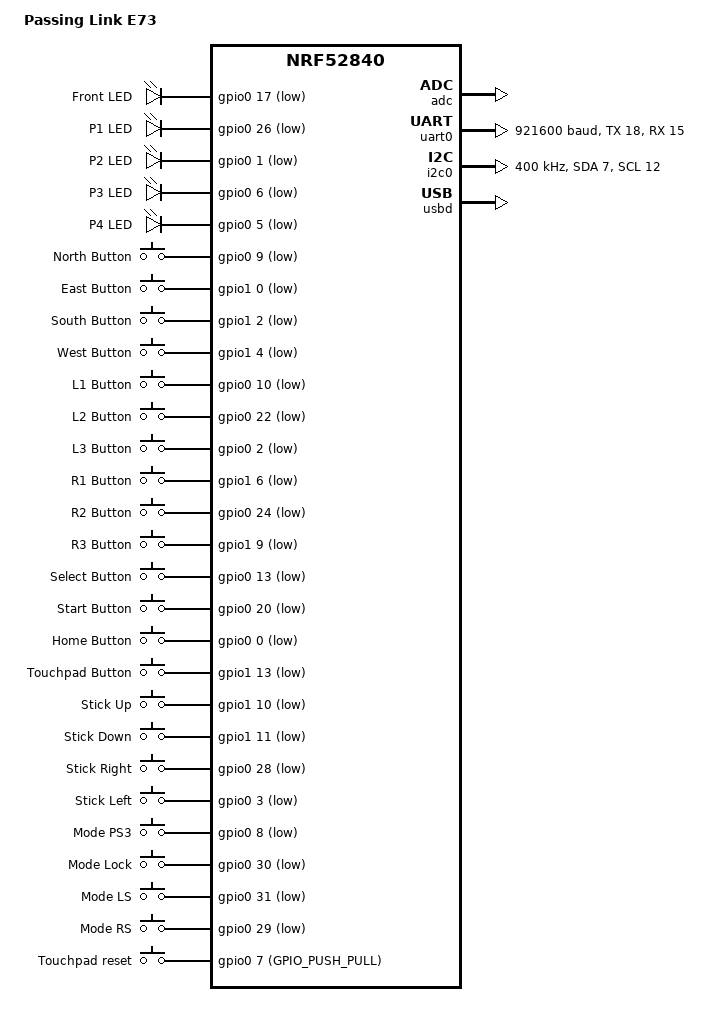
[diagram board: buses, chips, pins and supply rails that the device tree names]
/dts-v1/;
#include <nordic/nrf52840_qiaa.dtsi>

/ {
  model = "Passing Link E73";
  compatible = "nordic,nrf52840-qiaa", "nordic,nrf52840";

  aliases {
    tp-i2c = &i2c0;
  };

  chosen {
    zephyr,console = &uart0;
    zephyr,shell-uart = &uart0;
    zephyr,sram = &sram0;
    zephyr,flash = &flash0;
    zephyr,code-partition = &slot0_partition;
    mcuboot,sram_warmboot = &sram1;
  };

  soc {
    sram0: memory@20000000 {
      compatible = "mmio-sram";
      reg = <0x20000000 0x3fff8>;
    };

    sram1: memory@2003fff8 {
      compatible = "mmio-sram";
      reg = <0x2003fff8 8>;
    };
  };

  leds {
    compatible = "gpio-leds";
    led_status: led_0 {
      gpios = <&gpio0 17 GPIO_ACTIVE_LOW>;
      label = "Front LED";
    };
    led_p1: led_1 {
      gpios = <&gpio0 26 GPIO_ACTIVE_LOW>;
      label = "P1 LED";
    };
    led_p2: led_2 {
      gpios = <&gpio0 1 GPIO_ACTIVE_LOW>;
      label = "P2 LED";
    };
    led_p3: led_3 {
      gpios = <&gpio0 6 GPIO_ACTIVE_LOW>;
      label = "P3 LED";
    };
    led_p4: led_4 {
      gpios = <&gpio0 5 GPIO_ACTIVE_LOW>;
      label = "P4 LED";
    };
  };

  gpio_keys {
    compatible = "gpio-keys";

    button_north {
      gpios = <&gpio0 9 (GPIO_PULL_UP | GPIO_ACTIVE_LOW)>;
      label = "North Button";
    };

    button_east {
      gpios = <&gpio1 0 (GPIO_PULL_UP | GPIO_ACTIVE_LOW)>;
      label = "East Button";
    };

    button_south {
      gpios = <&gpio1 2 (GPIO_PULL_UP | GPIO_ACTIVE_LOW)>;
      label = "South Button";
    };

    button_west {
      gpios = <&gpio1 4 (GPIO_PULL_UP | GPIO_ACTIVE_LOW)>;
      label = "West Button";
    };

    button_l1 {
      gpios = <&gpio0 10 (GPIO_PULL_UP | GPIO_ACTIVE_LOW)>;
      label = "L1 Button";
    };

    button_l2 {
      gpios = <&gpio0 22 (GPIO_PULL_UP | GPIO_ACTIVE_LOW)>;
      label = "L2 Button";
    };

    button_l3 {
      gpios = <&gpio0 2 (GPIO_PULL_UP | GPIO_ACTIVE_LOW)>;
      label = "L3 Button";
    };

    button_r1 {
      gpios = <&gpio1 6 (GPIO_PULL_UP | GPIO_ACTIVE_LOW)>;
      label = "R1 Button";
    };

    button_r2 {
      gpios = <&gpio0 24 (GPIO_PULL_UP | GPIO_ACTIVE_LOW)>;
      label = "R2 Button";
    };

    button_r3 {
      gpios = <&gpio1 9 (GPIO_PULL_UP | GPIO_ACTIVE_LOW)>;
      label = "R3 Button";
    };

    button_select {
      gpios = <&gpio0 13 (GPIO_PULL_UP | GPIO_ACTIVE_LOW)>;
      label = "Select Button";
    };

    button_start {
      gpios = <&gpio0 20 (GPIO_PULL_UP | GPIO_ACTIVE_LOW)>;
      label = "Start Button";
    };

    button_home {
      gpios = <&gpio0 0 (GPIO_PULL_UP | GPIO_ACTIVE_LOW)>;
      label = "Home Button";
    };

    button_touchpad {
      gpios = <&gpio1 13 (GPIO_PULL_UP | GPIO_ACTIVE_LOW)>;
      label = "Touchpad Button";
    };

    stick_up {
      gpios = <&gpio1 10 (GPIO_PULL_UP | GPIO_ACTIVE_LOW)>;
      label = "Stick Up";
    };

    stick_down {
      gpios = <&gpio1 11 (GPIO_PULL_UP | GPIO_ACTIVE_LOW)>;
      label = "Stick Down";
    };

    stick_right {
      gpios = <&gpio0 28 (GPIO_PULL_UP | GPIO_ACTIVE_LOW)>;
      label = "Stick Right";
    };

    stick_left {
      gpios = <&gpio0 3 (GPIO_PULL_UP | GPIO_ACTIVE_LOW)>;
      label = "Stick Left";
    };

    mode_ps3 {
      gpios = <&gpio0 8 (GPIO_PULL_UP | GPIO_ACTIVE_LOW)>;
      label = "Mode PS3";
    };

    mode_lock {
      gpios = <&gpio0 30 (GPIO_PULL_UP | GPIO_ACTIVE_LOW)>;
      label = "Mode Lock";
    };

    mode_ls {
      gpios = <&gpio0 31 (GPIO_PULL_UP | GPIO_ACTIVE_LOW)>;
      label = "Mode LS";
    };

    mode_rs {
      gpios = <&gpio0 29 (GPIO_PULL_UP | GPIO_ACTIVE_LOW)>;
      label = "Mode RS";
    };

    tp_rst {
      gpios = <&gpio0 7 (GPIO_PUSH_PULL)>;
      label = "Touchpad reset";
    };
  };
};

&adc {
  status = "okay";
};

&gpiote {
  status = "okay";
};

&gpio0 {
  status = "okay";
};

&gpio1 {
  status = "okay";
};

&uart0 {
  compatible = "nordic,nrf-uarte";
  current-speed = <921600>;
  status = "okay";
  tx-pin = <18>;
  rx-pin = <15>;
};

&i2c0 {
  compatible = "nordic,nrf-twim";
  status = "okay";
  clock-frequency = <I2C_BITRATE_FAST>;
  sda-pin = <7>;
  scl-pin = <12>;
};

&usbd {
  compatible = "nordic,nrf-usbd";
  status = "okay";
};

#include "pl_nrf_partitions.dtsi"
